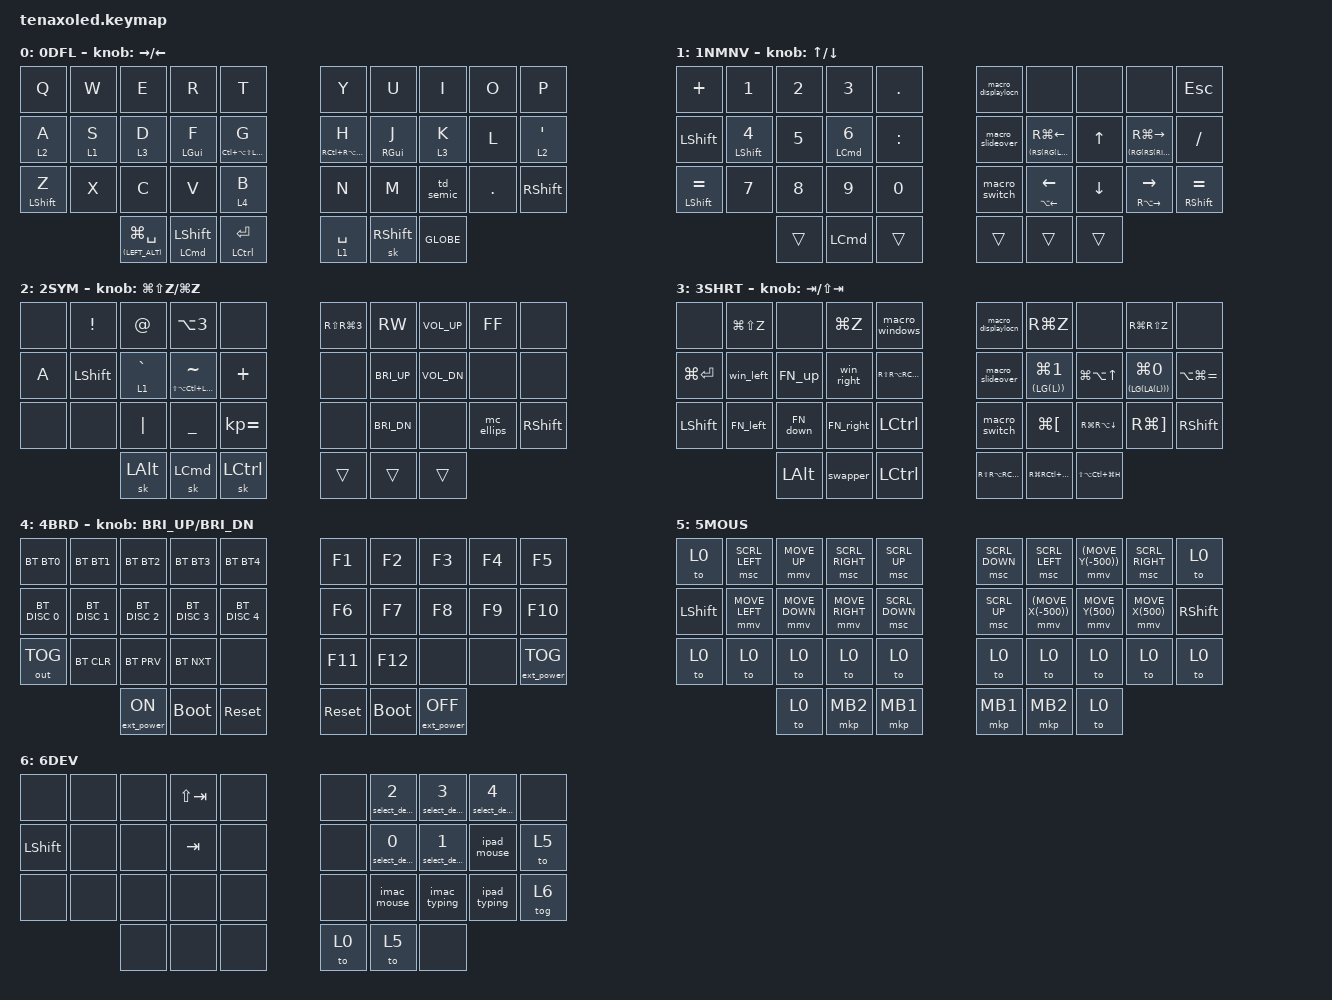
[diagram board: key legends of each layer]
/*
 * Copyright (c) 2020 The ZMK Contributors
 *
 * SPDX-License-Identifier: MIT
 */

#define ZMK_POINTING_DEFAULT_MOVE_VAL 1200  // default: 600
#define ZMK_POINTING_DEFAULT_SCRL_VAL 40    // default: 10

#include <dt-bindings/zmk/mouse.h>

#define COMBO_TIMEOUT 60
#define BT0 BT_SEL 0
#define BT1 BT_SEL 1
#define BT2 BT_SEL 2
#define BT3 BT_SEL 3
#define BT4 BT_SEL 4

#include <input/processors.dtsi>
#include <behaviors.dtsi>
#include <dt-bindings/zmk/bt.h>
#include <dt-bindings/zmk/ext_power.h>
#include <dt-bindings/zmk/keys.h>
#include <dt-bindings/zmk/outputs.h>
#include <dt-bindings/zmk/pointing.h>

// &mmv_input_listener {
//    precision {
//        layers = <6>;
//        input-processors = <&zip_xy_scaler 1 4>;
//    };
// };

&mmv {
    time-to-max-speed-ms = <0>;
    acceleration-exponent = <0>;
};

// #define MO_TOG(layer) &mo_tog layer layer   // Macro to apply momentary-layer-on-hold/toggle-layer-on-tap to a specific layer
// &led_strip {
//    chain-length = <18>;
// };

&mt {
    tapping-term-ms = <500>;

    // retro-tap;
};

&lt { tapping-term-ms = <180>; };

&sk {
    release-after-ms = <3000>;
    quick-release;
};

&caps_word { continue-list = <UNDERSCORE MINUS BACKSPACE>; };

/ {
    combos {
        compatible = "zmk,combos";

        combo_lpar {
            timeout-ms = <100>;
            key-positions = <4 3>;
            bindings = <&kp LPAR>;
            layers = <0>;
        };

        combo_rpar {
            timeout-ms = <100>;
            key-positions = <6 5>;
            bindings = <&kp RPAR>;
            layers = <0>;
        };

        combo_lbkt {
            timeout-ms = <100>;
            key-positions = <13 14>;
            bindings = <&kp LBKT>;
            layers = <0>;
        };

        combo_rbkt {
            timeout-ms = <100>;
            key-positions = <15 16>;
            bindings = <&kp RBKT>;
            layers = <0>;
        };

        combo_lbrc {
            timeout-ms = <100>;
            key-positions = <23 24>;
            bindings = <&kp LBRC>;
            layers = <0>;
        };

        combo_rbrc {
            timeout-ms = <100>;
            key-positions = <25 26>;
            bindings = <&kp RBRC>;
            layers = <0>;
        };

        combo_dash {
            timeout-ms = <100>;
            key-positions = <3 13>;
            layers = <0>;
            bindings = <&kp MINUS>;
        };

        combo_undersc {
            timeout-ms = <100>;
            key-positions = <13 23>;
            layers = <0>;
            bindings = <&kp LS(MINUS)>;
        };

        combo_emdash {
            timeout-ms = <50>;
            layers = <0>;
            key-positions = <14 4>;
            bindings = <&kp LS(LA(MINUS))>;
        };

        combo_plus {
            timeout-ms = <50>;
            layers = <0>;
            key-positions = <14 24>;
            bindings = <&kp LS(EQUAL)>;
        };

        bt_clr {
            bindings = <&bt BT_CLR_ALL>;
            key-positions = <20 21 22>;
            layers = <4>;
        };

        drafts_bullet {
            bindings = <&kp LC(B)>;
            key-positions = <12 22>;
            timeout-ms = <200>;
            layers = <0>;
        };

        mo_L6 {
            bindings = <&sl 4>;
            key-positions = <2 10 13>;
            layers = <0>;
        };

        cmb_undo {
            bindings = <&kp LG(Z)>;
            key-positions = <11 12 13>;
            layers = <0>;
            timeout-ms = <200>;
        };

        cmb_colon {
            bindings = <&kp COLON>;
            key-positions = <16 26>;
            timeout-ms = <200>;
            layers = <0>;
        };

        cmb_que {
            bindings = <&mod_qmarkcolon>;
            key-positions = <27 17>;
            timeout-ms = <200>;
            layers = <0>;
        };

        cmb_bsp_del {
            bindings = <&bspc_del>;
            key-positions = <7 17>;
            timeout-ms = <150>;
            layers = <0>;
        };

        combo_dqt {
            bindings = <&kp DQT>;
            key-positions = <19 29>;
            layers = <0>;
            timeout-ms = <200>;
        };

        cmb_a {
            bindings = <&kp LS(A)>;
            key-positions = <10 20>;
            layers = <0>;
            timeout-ms = <125>;
        };

        cmb_pp {
            bindings = <&kp C_PLAY_PAUSE>;
            key-positions = <17 7>;
            timeout-ms = <200>;
            layers = <2>;
        };

        cmb_slash {
            bindings = <&mod_slash>;
            key-positions = <18 28>;
            timeout-ms = <150>;
            layers = <0>;
        };

        cmb_altdash {
            bindings = <&kp LA(MINUS)>;
            key-positions = <14 24>;
            timeout-ms = <150>;
            layers = <2 1>;
        };

        cmb_bspLine {
            bindings = <&kp RG(BACKSPACE)>;
            key-positions = <7 17>;
            layers = <1>;
        };

        cmb_arrwordleft {
            bindings = <&ArrowSelect RS(RA(LEFT)) RA(LEFT)>;
            key-positions = <16 27 17>;
            require-prior-idle-ms = <225>;
            layers = <0 1>;
        };

        cmb_arrwordright {
            bindings = <&ArrowSelect RA(RS(RIGHT)) RA(RIGHT)>;
            key-positions = <18 27 17>;
            require-prior-idle-ms = <225>;
            layers = <0 1>;
        };

        cmb_redo {
            bindings = <&kp LS(RG(Z))>;
            key-positions = <17 16 18>;
            timeout-ms = <200>;
            layers = <0>;
        };

        cmb_L4_right {
            bindings = <&sl 4>;
            key-positions = <7 16 19>;
            layers = <0>;
        };

        drafts_del_line {
            bindings = <&kp LC(LESS_THAN)>;
            key-positions = <6 16>;
            layers = <1>;
            timeout-ms = <200>;
        };

        cmb_bspword {
            bindings = <&bsp_word>;
            key-positions = <16 6>;
            timeout-ms = <200>;
            layers = <0 1>;
        };

        cmb_hyper {
            bindings = <&sk LS(LA(LC(LCMD)))>;
            key-positions = <1 11>;
            layers = <0>;
        };

        cmb_meh_lh {
            bindings = <&sk LS(LA(LCTRL))>;
            key-positions = <10 0>;
            layers = <0>;
            timeout-ms = <130>;
        };

        cmb_l5 {
            bindings = <&to 5>;
            key-positions = <7 16 17 18>;
            layers = <0>;
        };

        cmb_l5lh {
            bindings = <&to 5>;
            key-positions = <2 11 12 13>;
            layers = <0>;
        };

        cmb_xmouse {
            bindings = <&to 0>;
            key-positions = <7 16 17 18>;
            layers = <5>;
        };

        cmb_hyper_r {
            bindings = <&sk LS(LA(LC(LCMD)))>;
            key-positions = <18 8>;
            layers = <0>;
            timeout-ms = <130>;
        };

        cmb_meh_rh {
            bindings = <&sk LS(LA(LCTRL))>;
            key-positions = <19 9>;
            layers = <0>;
            timeout-ms = <130>;
        };

        cmb_tab {
            bindings = <&cmd_lt 6 TAB>;
            key-positions = <12 2>;
            layers = <0>;
            timeout-ms = <40>;
            require-prior-idle-ms = <150>;
        };

        cmb_shifttab {
            bindings = <&kp LS(TAB)>;
            key-positions = <2 12>;
            layers = <2>;
        };

        cmb_spotlight {
            bindings = <&mcr_spotlight>;
            key-positions = <13 14 4>;
            layers = <0>;
        };

        cmb_xmouselh {
            bindings = <&to 0>;
            key-positions = <2 11 12 13>;
            layers = <5>;
            timeout-ms = <150>;
        };

        cmb_eject {
            bindings = <&kp C_EJECT>;
            key-positions = <33 34 35>;
            layers = <0>;
        };

        cmb_capsword {
            bindings = <&caps_word>;
            key-positions = <33 34>;
            layers = <0>;
            timeout-ms = <150>;
        };

        cmb_lhcapsword {
            bindings = <&caps_word>;
            key-positions = <32 31>;
            timeout-ms = <150>;
            layers = <0>;
        };

        cmb_device_selector {
            timeout-ms = <60>;
            key-positions = <27 28>;
            bindings = <&tog 6>;
            layers = <0 5 6>;
        };
    };

    behaviors {
        hold_shift: hold_shift {
            compatible = "zmk,behavior-smart-toggle";
            #binding-cells = <0>;
            bindings = <&kp RSHIFT>, <&none>;

            ignored-key-positions = <16 17 18 26 27 28>;
        };

        smart_moveline: smart_moveline {
            compatible = "zmk,behavior-smart-toggle";
            #binding-cells = <0>;
            bindings = <&kp RG(RALT)>, <&none>;

            ignored-key-positions = <7 17 27>;
        };

        macro_slideover: macro_slideover {
            label = "ZM_macro_slideover";
            compatible = "zmk,behavior-macro";
            #binding-cells = <0>;
            bindings =
                <&macro_press>,
                <&kp GLOBE>,
                <&macro_tap>,
                <&kp BSLH>,
                <&macro_release>,
                <&kp GLOBE>;
        };

        macro_windows: macro_windows {
            label = "ZM_macro_windows";
            compatible = "zmk,behavior-macro";
            #binding-cells = <0>;
            bindings =
                <&macro_press>,
                <&kp GLOBE>,
                <&macro_tap>,
                <&kp DOWN>,
                <&macro_release>,
                <&kp GLOBE>;
        };

        macro_switch: macro_switch {
            label = "ZM_macro_switch";
            compatible = "zmk,behavior-macro";
            #binding-cells = <0>;
            bindings =
                <&macro_press>,
                <&kp GLOBE>,
                <&macro_tap>,
                <&kp GRAVE>,
                <&macro_release>,
                <&kp GLOBE>;
        };

        FN_up: FN_up {
            compatible = "zmk,behavior-macro";
            label = "FN_UP";
            #binding-cells = <0>;
            bindings =
                <&macro_press>,
                <&kp GLOBE>,
                <&macro_tap>,
                <&kp UP_ARROW>,
                <&macro_release>,
                <&kp GLOBE>;
        };

        FN_down: FN_down {
            compatible = "zmk,behavior-macro";
            label = "FN_DOWN";
            #binding-cells = <0>;
            bindings =
                <&macro_press>,
                <&kp GLOBE>,
                <&macro_tap>,
                <&kp DOWN>,
                <&macro_release>,
                <&kp GLOBE>;
        };

        FN_left: FN_left {
            compatible = "zmk,behavior-macro";
            label = "FN_LEFT";
            #binding-cells = <0>;
            bindings =
                <&macro_press>,
                <&kp GLOBE>,
                <&macro_tap>,
                <&kp LEFT>,
                <&macro_release>,
                <&kp GLOBE>;
        };

        FN_right: FN_right {
            compatible = "zmk,behavior-macro";
            label = "FN_RIGHT";
            #binding-cells = <0>;
            bindings =
                <&macro_press>,
                <&kp GLOBE>,
                <&macro_tap>,
                <&kp RIGHT>,
                <&macro_release>,
                <&kp GLOBE>;
        };

        next_slideover: next_slideover {
            compatible = "zmk,behavior-macro";
            label = "NEXT_SLIDEOVER";
            #binding-cells = <0>;
            bindings =
                <&macro_press>,
                <&kp GLOBE &kp LCMD>,
                <&macro_tap>,
                <&kp BSLH>,
                <&macro_release>,
                <&kp GLOBE &kp LCMD>;
        };

        macro_displaylocn: macro_displaylocn {
            compatible = "zmk,behavior-macro";
            label = "MACRO_DISPLAYLOCN";
            #binding-cells = <0>;
            bindings =
                <&macro_press>,
                <&kp GLOBE &kp LC(BACKSLASH)>,
                <&macro_release>;
        };

        mc_ellips: mc_ellips {
            compatible = "zmk,behavior-macro";
            #binding-cells = <0>;
            bindings = <&kp DOT &kp DOT &kp DOT>;
            label = "MC_ELLIPS";
        };

        win_left: win_left {
            compatible = "zmk,behavior-macro";
            label = "WIN_LEFT";
            #binding-cells = <0>;
            bindings =
                <&macro_press>,
                <&kp GLOBE &kp LCTRL>,
                <&macro_tap>,
                <&kp LEFT>,
                <&macro_release>,
                <&kp GLOBE &kp LCTRL>;
        };

        win_right: win_right {
            compatible = "zmk,behavior-macro";
            label = "WIN_RIGHT";
            #binding-cells = <0>;
            bindings =
                <&macro_press>,
                <&kp GLOBE &kp LCTRL>,
                <&macro_tap>,
                <&kp RIGHT>,
                <&macro_release>,
                <&kp GLOBE &kp LCTRL>;
        };

        mcr_spotlight: mcr_spotlight {
            compatible = "zmk,behavior-macro";
            #binding-cells = <0>;
            bindings =
                <&macro_press>,
                <&kp LCMD>,
                <&macro_tap>,
                <&kp SPACE>,
                <&macro_release>,
                <&kp LCMD>;

            label = "MCR_SPOTLIGHT";
        };


        cmd_layer: cmd_layer {
            compatible = "zmk,behavior-macro-one-param";
            #binding-cells = <1>;
            wait-ms = <0>;
            tap-ms = <0>;
            bindings =
                <&macro_param_1to1>,
                <&macro_press>,
                <&mo MACRO_PLACEHOLDER>,
                <&kp LGUI>,
                <&macro_pause_for_release>,
        
                // Release Cmd.
                <&macro_release>,
                <&kp LGUI>,
        
                // Release the layer.
                <&macro_param_1to1>,
                <&mo MACRO_PLACEHOLDER>,
        
                // Allow time before the Shift reset.
                <&macro_wait_time 150>,
                <&macro_tap_time 30>,
                <&macro_tap>,
                <&kp LEFT_SHIFT>;
        };

        cmd_lt: cmd_layer_tap {
            compatible = "zmk,behavior-hold-tap";
            #binding-cells = <2>;
            flavor = "hold-preferred";
            tapping-term-ms = <200>;
            bindings = <&cmd_layer>, <&kp>;
        };

        hm: homerow_mods {
            compatible = "zmk,behavior-hold-tap";
            label = "HOMEROW_MODS";
            #binding-cells = <2>;
            tapping-term-ms = <275>;
            quick-tap-ms = <0>;
            flavor = "tap-preferred";
            bindings = <&kp>, <&kp>;
        };

        bspc_del: backspace_delete {
            compatible = "zmk,behavior-mod-morph";
            label = "BACKSPACE_DELETE";
            #binding-cells = <0>;
            bindings = <&kp BACKSPACE>, <&kp DELETE>;

            mods = <(MOD_LSFT|MOD_RSFT)>;
        };

        ht_hl: holdtap_homerowlayer {
            compatible = "zmk,behavior-hold-tap";
            label = "HOLDTAP_HOMELAY";
            #binding-cells = <2>;
            tapping-term-ms = <285>;
            flavor = "tap-preferred";
            require-prior-idle-ms = <125>;
            bindings = <&mo>, <&kp>;

            quick-tap-ms = <125>;
        };

        ht_shift: ht_shift {
            compatible = "zmk,behavior-hold-tap";
            label = "HT_SHIFT";
            bindings = <&kp>, <&kp>;

            #binding-cells = <2>;
            tapping-term-ms = <130>;
            flavor = "tap-preferred";
        };

        bsp_word: bsp_word {
            compatible = "zmk,behavior-mod-morph";
            label = "BSP_WORD";
            bindings = <&kp LA(BACKSPACE)>, <&kp LA(DELETE)>;

            #binding-cells = <0>;
            mods = <(MOD_LSFT|MOD_RSFT)>;
        };

        td_semic: td_semic {
            compatible = "zmk,behavior-tap-dance";
            label = "TD_SEMIC";
            #binding-cells = <0>;
            bindings = <&kp COMMA>, <&kp SEMI>;

            tapping-term-ms = <250>;
        };

        left_taphold: left_taphold {
            compatible = "zmk,behavior-hold-tap";
            label = "LEFT_TAPHOLD";
            bindings = <&kp>, <&kp>;

            #binding-cells = <2>;
            tapping-term-ms = <250>;
            flavor = "tap-preferred";
        };

        rght_taphold: rght_taphold {
            compatible = "zmk,behavior-hold-tap";
            label = "RGHT_TAPHOLD";
            bindings = <&kp>, <&kp>;

            #binding-cells = <2>;
            tapping-term-ms = <250>;
            flavor = "tap-preferred";
        };

        ht_hyper: ht_hyper {
            compatible = "zmk,behavior-hold-tap";
            label = "HT_HYPER";
            #binding-cells = <2>;
            tapping-term-ms = <225>;
            flavor = "tap-preferred";
            require-prior-idle-ms = <125>;
            quick-tap-ms = <125>;
            bindings = <&sk>, <&kp>;

            retro-tap;
        };

        mod_slash: mod_slash {
            compatible = "zmk,behavior-mod-morph";
            label = "MOD_SLASH";
            bindings = <&kp KP_SLASH>, <&kp BACKSLASH>;

            #binding-cells = <0>;
            mods = <(MOD_LSFT|MOD_RSFT)>;
        };

        pht_L2shift: pht_L2shift {
            compatible = "zmk,behavior-hold-tap";
            label = "PHT_L2SHIFT";
            bindings = <&kp>, <&kp>;

            #binding-cells = <2>;
            tapping-term-ms = <120>;
            flavor = "tap-preferred";
            hold-trigger-key-positions = <30 31 32 5 15 25 5 6 7 8 9 15 16 17 18 19 25 26 27 28 29>;
        };

        ArrowSelect: ArrowSelect {
            compatible = "zmk,behavior-hold-tap";
            label = "ARROWSELECT";
            bindings = <&kp>, <&kp>;

            #binding-cells = <2>;
            tapping-term-ms = <280>;
            flavor = "tap-preferred";
        };

        mod_qmarkcolon: mod_qmarkcolon {
            compatible = "zmk,behavior-mod-morph";
            label = "MOD_QMARKCOLON";
            bindings = <&kp QUESTION>, <&kp COLON>;

            #binding-cells = <0>;
            mods = <(MOD_LSFT|MOD_RSFT)>;
        };

        swapper: swapper {
            compatible = "zmk,behavior-smart-toggle";
            #binding-cells = <0>;
            bindings = <&kp RGUI>, <&kp TAB>;

            ignored-key-positions = <2 10 12 17 20 29 31>;
            label = "SWAPPER";
        };

        td_shlock_movlock: td_shlock_movlock {
            compatible = "zmk,behavior-tap-dance";
            label = "TD_SHLOCK_MOVLOCK";
            #binding-cells = <0>;
            bindings = <&hold_shift>, <&smart_moveline>;

            tapping-term-ms = <250>;
        };

        td_skmocp: td_skmocp {
            compatible = "zmk,behavior-tap-dance";
            label = "TD_SKMOCP";
            #binding-cells = <0>;
            bindings = <&sk RIGHT_SHIFT>, <&caps_word>;

            tapping-term-ms = <250>;
        };

        ht_skkp: ht_skkp {
            compatible = "zmk,behavior-hold-tap";
            label = "HT_SKKP";
            bindings = <&kp>, <&sk>;

            #binding-cells = <2>;
            tapping-term-ms = <250>;
            flavor = "tap-preferred";
        };

        z_sft: z_sft {
            compatible = "zmk,behavior-hold-tap";
            label = "Z_SFT";
            bindings = <&kp>, <&kp>;

            #binding-cells = <2>;
            tapping-term-ms = <200>;
            flavor = "tap-preferred";
            hold-trigger-key-positions = <30 31 32 33>;
            hold-trigger-on-release;
        };

        sk_cmd_shift: sk_cmd_shift {
            compatible = "zmk,behavior-sticky-key";
            #binding-cells = <1>;
            bindings = <&kp>;
            release-after-ms = <3000>;
            ignore-modifiers;
        };
    };

    macros {
        // Select a Bluetooth profile, then close the selector.
        // Leave the underlying typing/mouse mode unchanged.

        select_device: select_device {
            compatible = "zmk,behavior-macro-one-param";
            #binding-cells = <1>;
            wait-ms = <0>;
            tap-ms = <0>;
            bindings = <&macro_param_1to2 &bt BT_SEL MACRO_PLACEHOLDER &tog 6>;
        };

        // Main iPad, with typing mode explicitly selected.

        ipad_typing: ipad_typing {
            compatible = "zmk,behavior-macro";
            #binding-cells = <0>;
            wait-ms = <0>;
            tap-ms = <0>;
            bindings = <&bt BT_SEL 0 &to 0>;
        };

        // iMac, with mouse mode explicitly selected.

        imac_mouse: imac_mouse {
            compatible = "zmk,behavior-macro";
            #binding-cells = <0>;
            wait-ms = <0>;
            tap-ms = <0>;
            bindings = <&bt BT_SEL 3 &to 5>;
        };

        ipad_mouse: ipad_mouse {
            compatible = "zmk,behavior-macro";
            #binding-cells = <0>;
            wait-ms = <0>;
            tap-ms = <0>;
            bindings = <&bt BT_SEL 0 &to 5>;
        };

        imac_typing: imac_typing {
            compatible = "zmk,behavior-macro";
            #binding-cells = <0>;
            wait-ms = <0>;
            tap-ms = <0>;
            bindings = <&bt BT_SEL 3 &to 0>;
        };
    };

    keymap {
        compatible = "zmk,keymap";

        default {
            display-name = "0DFL";
            bindings = <
&kp Q                &kp W       &kp E                     &kp R                     &kp T                         &kp Y                         &kp U            &kp I       &kp O    &kp P
&ht_hl 2 A           &ht_hl 1 S  &ht_hl 3 D                &hm LEFT_GUI F            &ht_hyper LC(LA(LS(LCMD))) G  &ht_hyper RC(RA(RS(RCMD))) H  &hm RIGHT_GUI J  &ht_hl 3 K  &kp L    &ht_hl 2 APOS
&z_sft LEFT_SHIFT Z  &kp X       &kp C                     &kp V                     &ht_hl 4 B                    &kp N                         &kp M            &td_semic   &kp DOT  &kp RIGHT_SHIFT
                                 &mt (LEFT_ALT) LG(SPACE)  &ht_skkp LCMD LEFT_SHIFT  &mt LCTRL ENTER               &lt 1 SPACE                   &sk RIGHT_SHIFT  &kp GLOBE
            >;

            sensor-bindings = <&inc_dec_kp RIGHT LEFT>;
            label = "0DFL";
        };

        NUMNAV {
            label = "1NMNV";
            display-name = "1NMNV";
            bindings = <
&kp PLUS                    &kp NUMBER_1                &kp NUMBER_2  &kp NUMBER_3       &kp PERIOD  &macro_displaylocn  &none                                  &none     &none                                    &kp ESC
&kp LEFT_SHIFT              &pht_L2shift LEFT_SHIFT N4  &kp N5        &hm LCMD NUMBER_6  &kp COLON   &macro_slideover    &left_taphold (RS(RG(LEFT))) RG(LEFT)  &kp UP    &rght_taphold (RG(RS(RIGHT))) RG(RIGHT)  &kp SLASH
&ht_shift LEFT_SHIFT EQUAL  &kp N7                      &kp N8        &kp N9             &kp N0      &macro_switch       &left_taphold LA(LEFT) LEFT            &kp DOWN  &rght_taphold RA(RIGHT) RIGHT            &ht_shift RIGHT_SHIFT EQUAL
                                                        &trans        &kp LCMD           &trans      &trans              &trans                                 &trans
            >;

            sensor-bindings = <&inc_dec_kp UP DOWN>;
        };

        SYM_MED {
            label = "2SYME";
            display-name = "2SYM";
            bindings = <
&none  &kp EXCL        &kp AT_SIGN     &kp LA(NUMBER_3)                      &none         &kp RS(RG(NUMBER_3))  &kp C_RW      &kp C_VOL_UP  &kp C_FF    &none
&kp A  &kp LEFT_SHIFT  &ht_hl 1 GRAVE  &ht_hyper LS(LA(LC(LEFT_GUI))) TILDE  &kp PLUS      &none                 &kp C_BRI_UP  &kp C_VOL_DN  &none       &none
&none  &none           &kp PIPE        &kp UNDER                             &kp KP_EQUAL  &none                 &kp C_BRI_DN  &none         &mc_ellips  &kp RIGHT_SHIFT
                       &sk LEFT_ALT    &sk LCMD                              &sk LCTRL     &trans                &trans        &trans
            >;

            sensor-bindings = <&inc_dec_kp LG(LS(Z)) LG(Z)>;
        };

        SHORTS {
            label = "3SHORT";
            display-name = "3SHRT";
            bindings = <
&none           &kp LG(LS(Z))  &none         &kp LG(Z)   &macro_windows         &macro_displaylocn     &kp RG(Z)                           &none                  &kp RG(RS(Z))                     &none
&kp LG(RETURN)  &win_left      &FN_up        &win_right  &kp RS(RA(RC(RG(Y))))  &macro_slideover       &left_taphold (LG(L)) LG(NUMBER_1)  &kp LG(LA(UP))         &left_taphold (LG(LA(L))) LG(N0)  &kp LA(LG(EQUAL))
&kp LSHFT       &FN_left       &FN_down      &FN_right   &kp LCTRL              &macro_switch          &kp LG(LEFT_BRACKET)                &kp RG(RA(DOWN))       &kp RG(RBKT)                      &kp RIGHT_SHIFT
                               &kp LEFT_ALT  &swapper    &kp LCTRL              &kp RS(RA(RC(RG(L))))  &kp RG(RC(RA(RS(A))))               &kp LS(LA(LC(LG(H))))
            >;

            sensor-bindings = <&inc_dec_kp TAB LS(TAB)>;
        };

        BOARD {
            label = "4BOARD";
            display-name = "4BRD";
            bindings = <
&bt BT0        &bt BT1        &bt BT2           &bt BT3        &bt BT4        &kp F1      &kp F2       &kp F3             &kp F4  &kp F5
&bt BT_DISC 0  &bt BT_DISC 1  &bt BT_DISC 2     &bt BT_DISC 3  &bt BT_DISC 4  &kp F6      &kp F7       &kp F8             &kp F9  &kp F10
&out OUT_TOG   &bt BT_CLR     &bt BT_PRV        &bt BT_NXT     &none          &kp F11     &kp F12      &none              &none   &ext_power EP_TOG
                              &ext_power EP_ON  &bootloader    &sys_reset     &sys_reset  &bootloader  &ext_power EP_OFF
            >;

            sensor-bindings = <&inc_dec_kp C_BRI_UP C_BRI_DN>;
        };

        MOUSING {
            label = "5_MKEYS";
            display-name = "5MOUS";
            bindings = <
&to 0      &msc SCRL_LEFT  &mmv MOVE_UP    &msc SCRL_RIGHT  &msc SCRL_UP    &msc SCRL_DOWN  &msc SCRL_LEFT       &mmv (MOVE_Y(-500))  &msc SCRL_RIGHT   &to 0
&kp LSHFT  &mmv MOVE_LEFT  &mmv MOVE_DOWN  &mmv MOVE_RIGHT  &msc SCRL_DOWN  &msc SCRL_UP    &mmv (MOVE_X(-500))  &mmv MOVE_Y(500)     &mmv MOVE_X(500)  &kp RSHFT
&to 0      &to 0           &to 0           &to 0            &to 0           &to 0           &to 0                &to 0                &to 0             &to 0
                           &to 0           &mkp MB2         &mkp MB1        &mkp MB1        &mkp MB2             &to 0
            >;
        };

        DEVICE_SELECTOR {
            label = "6DEVICE";
            display-name = "6DEV";

            // Right-hand positions:
            // Y: unused     U: main iPad   I: M1      O: Mini       P: unused
            // H: iPad/mouse J: iMac        K: spare   L: iMac/type  ': mouse
            // N: iPad/type  M: iMac/mouse  ,: unused  .: unused     shift: close
            // Right thumbs: typing       mouse      unused

            bindings = <
&none           &none  &none  &kp LS(TAB)  &none  &none  &select_device 2  &select_device 3  &select_device 4  &none
&kp LEFT_SHIFT  &none  &none  &kp TAB      &none  &none  &select_device 0  &select_device 1  &ipad_mouse       &to 5
&none           &none  &none  &none        &none  &none  &imac_mouse       &imac_typing      &ipad_typing      &tog 6
                       &none  &none        &none  &to 0  &to 5             &none
            >;
        };
    };
};
